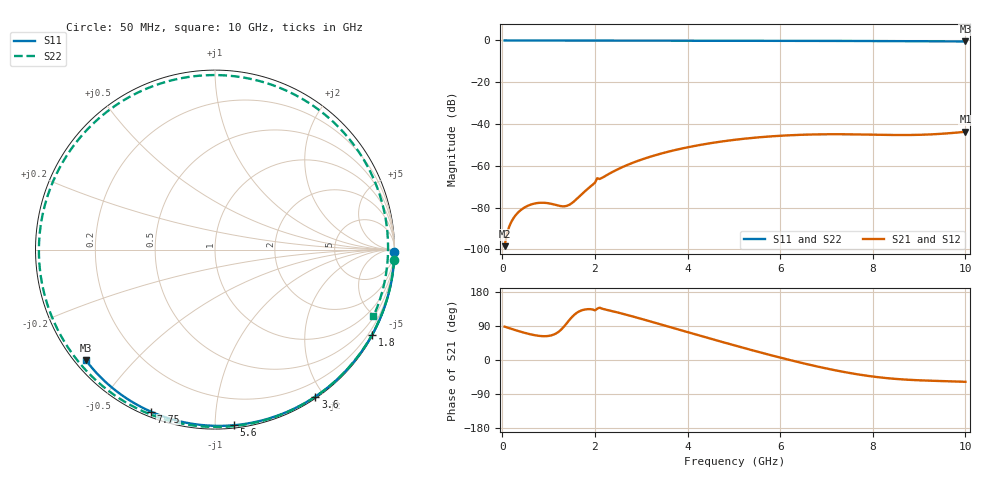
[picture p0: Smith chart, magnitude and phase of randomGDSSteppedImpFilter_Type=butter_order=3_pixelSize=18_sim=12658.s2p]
! freq	dB(S11)	phase(S11)	dB(S12)	phase(S12)
!  dB(S21)	phase(S21)	dB(S22)	phase(S22)
!S-par simulation data
#  GHz  S  DB  R 50
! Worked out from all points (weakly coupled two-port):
!   200 points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, 50 MHz to 10 GHz, reference 50 ohm
!   highest |S21| = -43.71 dB at 10 GHz (marker M1); lowest = -98.5 dB at 50 MHz (marker M2)
!   lowest |S11| = -0.5 dB at 10 GHz (marker M3), VSWR 36.97, Z = 1.54 - j18.5 ohm
!   |S11| at or under -10 dB: nowhere
!   |S22| runs from -0.4 to 0.0 dB; largest |S21 - S12| = 0
!   S11 on the Smith chart (normalised r, x): 50 MHz: open; 1.8 GHz: 0.03, -3.94; 3.6 GHz: 0.02, -1.89; 5.6 GHz: 0.02, -1.12; 7.75 GHz: 0.02, -0.68; 10 GHz: 0.03, -0.37
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0.05  -0.00 -0.8  -98.49 88.0  -98.49 88.0  -0.00 -3.3
0.45  -0.01 -7.2  -80.38 72.7  -80.38 72.7  -0.04 -29.4
0.9  -0.02 -14.4  -77.72 62.8  -77.72 62.8  -0.07 -57.4
1.4  -0.03 -22.3  -79.14 98.3  -79.14 98.3  -0.10 -85.8
1.75  -0.04 -27.7  -72.90 132.4  -72.90 132.4  -0.11 -103.9
1.8  -0.04 -28.5  -71.89 133.6  -71.89 133.6  -0.12 -106.4
2  -0.04 -31.6  -68.10 131.0  -68.10 131.0  -0.12 -116.0
2.05  -0.04 -32.4  -65.97 135.3  -65.97 135.3  -0.12 -118.3
2.1  -0.04 -33.1  -66.33 138.2  -66.33 138.2  -0.13 -120.6
2.7  -0.05 -42.3  -59.61 118.7  -59.61 118.7  -0.14 -146.5
3.4  -0.07 -52.7  -54.33 94.7  -54.33 94.7  -0.16 -173.4
3.6  -0.07 -55.7  -53.17 87.7  -53.17 87.7  -0.17 179.3
4.3  -0.09 -65.8  -49.90 63.1  -49.90 63.1  -0.19 154.9
5.05  -0.12 -76.3  -47.48 37.3  -47.48 37.3  -0.21 129.8
5.6  -0.14 -83.8  -46.26 19.1  -46.26 19.1  -0.23 111.6
6.15  -0.16 -91.1  -45.45 1.7  -45.45 1.7  -0.24 93.6
6.7  -0.19 -98.3  -45.01 -14.4  -45.01 -14.4  -0.25 75.8
7.2  -0.22 -104.7  -44.90 -27.4  -44.90 -27.4  -0.26 59.6
7.75  -0.26 -111.6  -45.02 -39.3  -45.02 -39.3  -0.27 42.2
8.35  -0.30 -119.1  -45.24 -48.4  -45.24 -48.4  -0.28 23.7
9.15  -0.38 -128.9  -45.07 -54.3  -45.07 -54.3  -0.31 0.3
10  -0.47 -139.4  -43.71 -57.6  -43.71 -57.6  -0.37 -22.9
